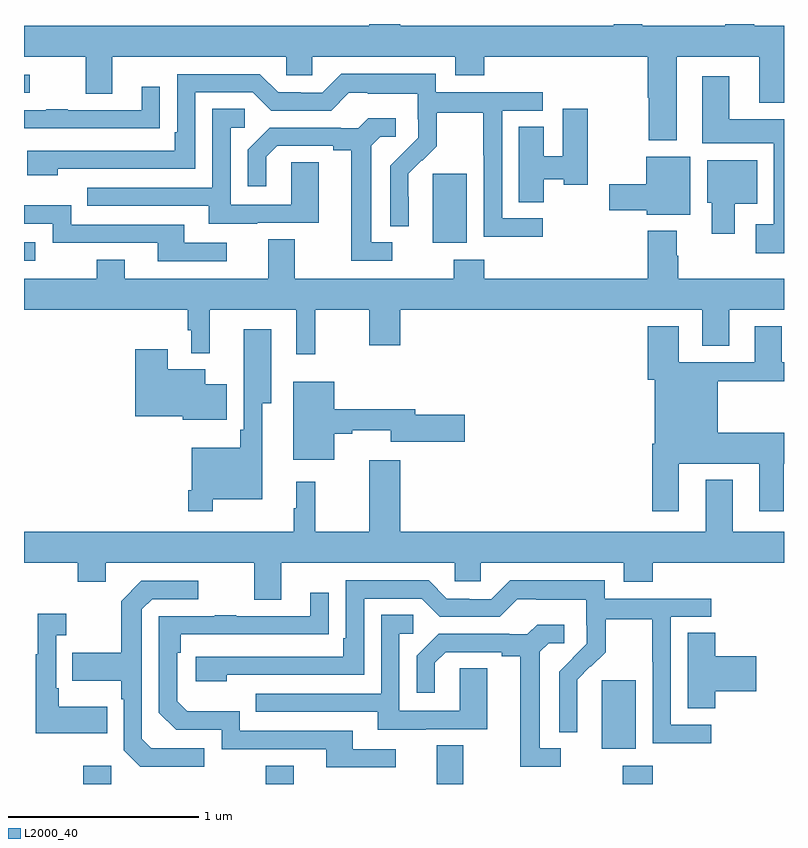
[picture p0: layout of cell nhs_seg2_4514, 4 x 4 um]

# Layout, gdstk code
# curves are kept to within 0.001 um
import gdstk
lib = gdstk.Library(unit=1e-6, precision=1e-09)
def R(c, l, rs):  # rectangles x0, y0, x1, y1
    for r in rs: c.add(gdstk.rectangle(r[:2], r[2:], *l))
def P(c, l, *ps):  # polygons
    for p in ps: c.add(gdstk.Polygon(p, *l))
L2000_40 = (2000, 40)

nhs_seg2_4514 = lib.new_cell('nhs_seg2_4514')
R(nhs_seg2_4514, L2000_40, [(355.312,651.8,355.458,651.895), (356.272,651.8,356.419,651.895), (357.173,651.8,357.313,652.004), (358.15,651.8,358.31,651.895), (358.04,651.986,358.219,652.347), (355,654.555,355.06,654.651), (357.152,654.65,357.331,655.011), (355,655.437,355.03,655.533)])
P(nhs_seg2_4514, L2000_40, [(358.435,655.628),(358.871,655.628),(358.871,655.385),(359,655.385),(359,655.792),(358.844,655.792),(358.844,655.8),(358.691,655.8),(358.691,655.792),(358.255,655.792),(358.255,655.8),(358.103,655.8),(358.103,655.792),(356.98,655.792),(356.98,655.8),(356.816,655.8),(356.816,655.792),(355,655.792),(355,655.628),(355.325,655.628),(355.325,655.434),(355.465,655.434),(355.465,655.628),(356.379,655.628),(356.379,655.53),(356.517,655.53),(356.517,655.628),(357.269,655.628),(357.269,655.529),(357.422,655.529),(357.422,655.628),(358.283,655.628),(358.283,655.413),(358.288,655.413),(358.288,655.187),(358.435,655.187)],
  [(357.73,654.777),(357.516,654.777),(357.516,655.344),(357.73,655.344),(357.73,655.44),(357.168,655.44),(357.168,655.537),(356.671,655.537),(356.571,655.437),(356.456,655.437),(356.456,655.44),(356.337,655.44),(356.241,655.536),(355.806,655.536),(355.806,655.231),(355.793,655.231),(355.793,655.134),(355.017,655.134),(355.017,655.004),(355.178,655.004),(355.178,655.038),(355.902,655.038),(355.902,655.44),(356.205,655.44),(356.301,655.344),(356.616,655.344),(356.709,655.437),(356.809,655.437),(356.809,655.433),(357.072,655.433),(357.072,655.299),(357.074,655.299),(357.074,655.202),(356.928,655.054),(356.928,654.736),(357.024,654.736),(357.023,655.013),(357.093,655.083),(357.096,655.08),(357.173,655.157),(357.173,655.332),(357.418,655.332),(357.418,655.108),(357.42,655.108),(357.42,654.679),(357.73,654.679)],
  [(359,655.3),(358.711,655.3),(358.711,655.525),(358.571,655.525),(358.571,655.172),(358.946,655.172),(358.946,654.745),(358.851,654.745),(358.851,654.593),(359,654.593)],
  [(355.613,655.252),(355.715,655.252),(355.715,655.471),(355.619,655.471),(355.619,655.347),(355.229,655.347),(355.229,655.352),(355.117,655.352),(355.117,655.347),(355,655.347),(355,655.251),(355.613,655.251)],
  [(356.227,654.753),(356.551,654.753),(356.551,655.073),(356.406,655.073),(356.406,654.849),(356.088,654.849),(356.088,655.254),(356.161,655.254),(356.161,655.355),(355.992,655.355),(355.992,654.939),(355.333,654.939),(355.333,654.843),(355.973,654.843),(355.973,654.749),(356.227,654.749)],
  [(357.736,654.983),(357.84,654.983),(357.84,654.953),(357.966,654.953),(357.966,655.354),(357.836,655.354),(357.836,655.105),(357.736,655.105),(357.736,655.259),(357.605,655.259),(357.605,654.862),(357.736,654.862)],
  [(356.938,654.651),(356.827,654.651),(356.827,655.159),(356.874,655.206),(356.956,655.206),(356.956,655.303),(356.812,655.303),(356.76,655.251),(356.666,655.251),(356.666,655.254),(356.294,655.254),(356.178,655.138),(356.178,654.945),(356.275,654.945),(356.275,655.101),(356.332,655.158),(356.627,655.158),(356.627,655.136),(356.723,655.136),(356.723,654.555),(356.938,654.555)],
  [(358.507,655.102),(358.274,655.102),(358.274,654.956),(358.08,654.956),(358.08,654.821),(358.278,654.821),(358.278,654.797),(358.507,654.797)],
  [(358.741,654.854),(358.858,654.854),(358.858,655.084),(358.595,655.084),(358.595,654.858),(358.619,654.858),(358.619,654.696),(358.741,654.696)],
  [(356.068,654.648),(355.843,654.648),(355.843,654.744),(355.248,654.744),(355.248,654.847),(355,654.847),(355,654.75),(355.152,654.75),(355.152,654.648),(355.703,654.648),(355.703,654.552),(356.068,654.552)],
  [(356.534,654.296),(356.816,654.296),(356.816,654.108),(356.98,654.108),(356.98,654.296),(358.571,654.296),(358.571,654.106),(358.711,654.106),(358.711,654.296),(359,654.296),(359,654.46),(358.443,654.46),(358.443,654.581),(358.435,654.581),(358.435,654.712),(358.283,654.712),(358.283,654.46),(357.422,654.46),(357.422,654.559),(357.262,654.559),(357.262,654.46),(356.425,654.46),(356.425,654.668),(356.285,654.668),(356.285,654.46),(355.531,654.46),(355.531,654.559),(355.384,654.559),(355.384,654.46),(355,654.46),(355,654.296),(355.861,654.296),(355.861,654.189),(355.881,654.189),(355.881,654.068),(355.978,654.068),(355.978,654.296),(356.432,654.296),(356.432,654.063),(356.534,654.063)],
  [(358.447,653.486),(358.871,653.486),(358.871,653.235),(358.999,653.235),(358.999,653.486),(359,653.486),(359,653.65),(358.651,653.65),(358.651,653.92),(359,653.92),(359,654.021),(358.987,654.021),(358.987,654.208),(358.847,654.208),(358.847,654.021),(358.447,654.021),(358.447,654.208),(358.283,654.208),(358.283,653.928),(358.319,653.928),(358.319,653.59),(358.307,653.59),(358.307,653.235),(358.447,653.235)],
  [(355.993,653.3),(356.254,653.3),(356.254,653.804),(356.302,653.804),(356.302,654.193),(356.156,654.193),(356.156,653.665),(356.137,653.665),(356.137,653.569),(355.884,653.569),(355.884,653.347),(355.864,653.347),(355.864,653.235),(355.993,653.235)],
  [(356.068,653.905),(355.954,653.905),(355.954,653.983),(355.756,653.983),(355.756,654.088),(355.586,654.088),(355.586,653.735),(355.836,653.735),(355.836,653.717),(356.068,653.717)],
  [(356.632,653.644),(356.728,653.644),(356.728,653.663),(356.93,653.663),(356.93,653.602),(357.319,653.602),(357.319,653.744),(357.058,653.744),(357.058,653.773),(356.632,653.773),(356.632,653.917),(356.417,653.917),(356.417,653.507),(356.632,653.507)],
  [(356.353,652.964),(357.267,652.964),(357.267,652.866),(357.405,652.866),(357.405,652.964),(358.157,652.964),(358.157,652.865),(358.31,652.865),(358.31,652.964),(359,652.964),(359,653.128),(358.729,653.128),(358.729,653.401),(358.589,653.401),(358.589,653.128),(356.98,653.128),(356.98,653.503),(356.816,653.503),(356.816,653.128),(356.534,653.128),(356.534,653.392),(356.432,653.392),(356.432,653.252),(356.421,653.252),(356.421,653.128),(355,653.128),(355,652.964),(355.282,652.964),(355.282,652.865),(355.429,652.865),(355.429,652.964),(356.213,652.964),(356.213,652.77),(356.353,652.77)],
  [(358.618,652.113),(358.404,652.113),(358.404,652.68),(358.618,652.68),(358.618,652.776),(358.056,652.776),(358.056,652.873),(357.559,652.873),(357.459,652.773),(357.344,652.773),(357.344,652.776),(357.225,652.776),(357.129,652.872),(356.694,652.872),(356.694,652.567),(356.681,652.567),(356.681,652.47),(355.905,652.47),(355.905,652.34),(356.066,652.34),(356.066,652.374),(356.79,652.374),(356.79,652.776),(357.093,652.776),(357.189,652.68),(357.504,652.68),(357.597,652.773),(357.697,652.773),(357.697,652.769),(357.96,652.769),(357.96,652.635),(357.962,652.635),(357.962,652.538),(357.816,652.39),(357.816,652.072),(357.912,652.072),(357.911,652.349),(357.981,652.419),(357.984,652.416),(358.061,652.493),(358.061,652.668),(358.306,652.668),(358.306,652.444),(358.308,652.444),(358.308,652.015),(358.618,652.015)],
  [(355.948,651.987),(355.671,651.987),(355.62,652.038),(355.62,652.719),(355.674,652.773),(355.918,652.773),(355.918,652.869),(355.617,652.869),(355.512,652.763),(355.512,652.491),(355.255,652.491),(355.255,652.343),(355.512,652.343),(355.512,652.247),(355.524,652.247),(355.524,651.978),(355.611,651.891),(355.948,651.891)],
  [(356.956,651.984),(356.731,651.984),(356.731,652.08),(356.136,652.08),(356.136,652.183),(355.859,652.183),(355.806,652.236),(355.806,652.49),(355.826,652.49),(355.826,652.587),(356.603,652.588),(356.603,652.807),(356.507,652.807),(356.507,652.683),(356.117,652.683),(356.117,652.688),(356.005,652.688),(356.005,652.683),(355.71,652.683),(355.71,652.176),(355.8,652.086),(356.04,652.086),(356.04,651.984),(356.591,651.984),(356.591,651.888),(356.956,651.888)],
  [(355.439,652.207),(355.183,652.207),(355.183,652.303),(355.17,652.303),(355.17,652.583),(355.222,652.583),(355.222,652.696),(355.073,652.696),(355.073,652.483),(355.062,652.483),(355.062,652.067),(355.439,652.067)],
  [(357.115,652.089),(357.439,652.089),(357.439,652.409),(357.294,652.409),(357.294,652.185),(356.976,652.185),(356.976,652.59),(357.049,652.59),(357.049,652.691),(356.88,652.691),(356.88,652.275),(356.221,652.275),(356.221,652.179),(356.861,652.179),(356.861,652.085),(357.115,652.085)],
  [(357.826,651.987),(357.715,651.987),(357.715,652.495),(357.762,652.542),(357.844,652.542),(357.844,652.639),(357.7,652.639),(357.648,652.587),(357.554,652.587),(357.554,652.59),(357.182,652.59),(357.066,652.474),(357.066,652.281),(357.163,652.281),(357.163,652.437),(357.22,652.494),(357.515,652.494),(357.515,652.472),(357.611,652.472),(357.611,651.891),(357.826,651.891)],
  [(358.637,652.289),(358.855,652.289),(358.855,652.472),(358.637,652.472),(358.637,652.595),(358.493,652.595),(358.493,652.198),(358.637,652.198)])

lib.write_gds('nhs_seg2_4514.gds')
